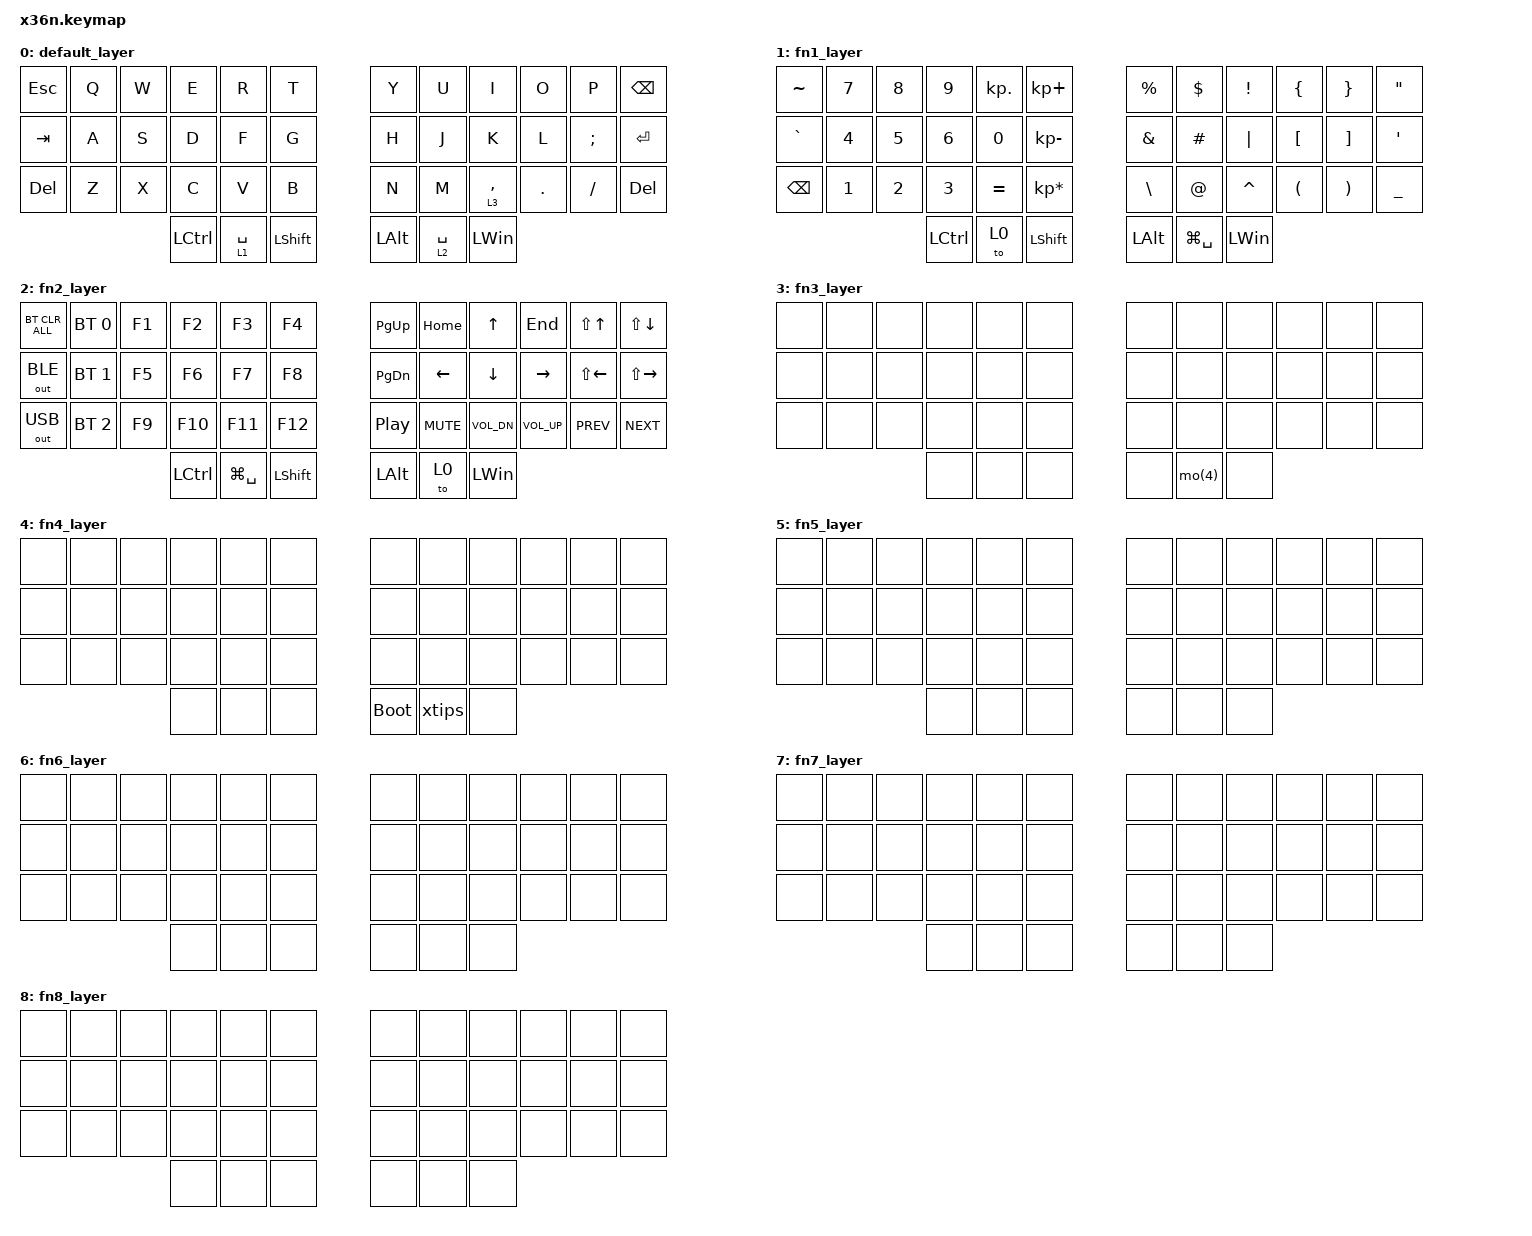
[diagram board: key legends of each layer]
/*
 * Copyright (c) 2020 The ZMK Contributors
 *
 * SPDX-License-Identifier: MIT
 */

#include <behaviors.dtsi>
#include <dt-bindings/zmk/keys.h>
#include <dt-bindings/zmk/rgb.h>
#include <dt-bindings/zmk/bt.h>
#include <dt-bindings/zmk/outputs.h>
#include <dt-bindings/zmk/ext_power.h>
#include <dt-bindings/zmk/mouse.h>

/ {
      macros {
        xtips: xtips {
            compatible = "zmk,behavior-macro";
            label = "XTIPS";
            #binding-cells = <0>;
            bindings = <&kp LS(X) &kp KP_DOT &kp LS(T) &kp I &kp P &kp S>;
            wait-ms = <1>;
            tap-ms = <1>;
        };
      };

    keymap0: keymap {
        compatible = "zmk,keymap";

        default_layer {
            bindings = <
            &kp ESC          &kp Q            &kp W            &kp E            &kp R            &kp T               &kp Y            &kp U            &kp I            &kp O            &kp P            &kp BSPC
            &kp TAB          &kp A            &kp S            &kp D            &kp F            &kp G               &kp H            &kp J            &kp K            &kp L            &kp SEMI         &kp ENTER
            &kp DEL          &kp Z            &kp X            &kp C            &kp V            &kp B               &kp N            &kp M            &lt 3 COMMA      &kp DOT          &kp SLASH        &kp DEL
                                                               &kp LCTRL        &lt 1 SPACE      &kp LSHFT           &kp LALT         &lt 2 SPACE      &kp LWIN
            >;
        };

        fn1_layer {
            bindings = <
            &kp TILDE        &kp N7           &kp N8           &kp N9           &kp KP_DOT       &kp KP_PLUS         &kp PRCNT        &kp DLLR         &kp EXCL         &kp LBRC         &kp RBRC         &kp DQT
            &kp GRAVE        &kp N4           &kp N5           &kp N6           &kp N0           &kp KP_MINUS        &kp AMPS         &kp HASH         &kp PIPE         &kp LBKT         &kp RBKT         &kp SQT
            &kp BSPC         &kp N1           &kp N2           &kp N3           &kp EQUAL        &kp KP_MULTIPLY     &kp BSLH         &kp AT           &kp CARET        &kp LPAR         &kp RPAR         &kp UNDER
                                                               &kp LCTRL        &to 0            &kp LSHFT           &kp LALT         &kp LG(SPACE)    &kp LWIN
            >;
        };

        fn2_layer {
            bindings = <
            &bt BT_CLR_ALL   &bt BT_SEL 0     &kp F1           &kp F2           &kp F3           &kp F4              &kp PG_UP        &kp HOME         &kp UP           &kp END          &kp LS(UP)       &kp LS(DOWN)
            &out OUT_BLE     &bt BT_SEL 1     &kp F5           &kp F6           &kp F7           &kp F8              &kp PG_DN        &kp LEFT         &kp DOWN         &kp RIGHT        &kp LS(LEFT)     &kp LS(RIGHT)
            &out OUT_USB     &bt BT_SEL 2     &kp F9           &kp F10          &kp F11          &kp F12             &kp C_PP         &kp C_MUTE       &kp C_VOL_DN     &kp C_VOL_UP     &kp C_PREV       &kp C_NEXT
                                                               &kp LCTRL        &kp LG(SPACE)    &kp LSHFT           &kp LALT         &to 0            &kp LWIN
            >;
        };

        fn3_layer {
            bindings = <
            &none            &none            &none            &none            &none            &none               &none            &none            &none            &none            &none            &none
            &none            &none            &none            &none            &none            &none               &none            &none            &none            &none            &none            &none
            &none            &none            &none            &none            &none            &none               &none            &none            &none            &none            &none            &none
                                                               &none            &none            &none               &none            &mo(4)           &none
            >;
        };

        fn4_layer {
            bindings = <
            &none            &none            &none            &none            &none            &none               &none            &none            &none            &none            &none            &none
            &none            &none            &none            &none            &none            &none               &none            &none            &none            &none            &none            &none
            &none            &none            &none            &none            &none            &none               &none            &none            &none            &none            &none            &none
                                                               &none            &none            &none               &bootloader      &xtips           &none
            >;
        };

        fn5_layer {
            bindings = <
            &none            &none            &none            &none            &none            &none               &none            &none            &none            &none            &none            &none
            &none            &none            &none            &none            &none            &none               &none            &none            &none            &none            &none            &none
            &none            &none            &none            &none            &none            &none               &none            &none            &none            &none            &none            &none
                                                               &none            &none            &none               &none            &none            &none
            >;
        };

        fn6_layer {
            bindings = <
            &none            &none            &none            &none            &none            &none               &none            &none            &none            &none            &none            &none
            &none            &none            &none            &none            &none            &none               &none            &none            &none            &none            &none            &none
            &none            &none            &none            &none            &none            &none               &none            &none            &none            &none            &none            &none
                                                               &none            &none            &none               &none            &none            &none
            >;
        };

        fn7_layer {
            bindings = <
            &none            &none            &none            &none            &none            &none               &none            &none            &none            &none            &none            &none
            &none            &none            &none            &none            &none            &none               &none            &none            &none            &none            &none            &none
            &none            &none            &none            &none            &none            &none               &none            &none            &none            &none            &none            &none
                                                               &none            &none            &none               &none            &none            &none
            >;
        };

        fn8_layer {
            bindings = <
            &none            &none            &none            &none            &none            &none               &none            &none            &none            &none            &none            &none
            &none            &none            &none            &none            &none            &none               &none            &none            &none            &none            &none            &none
            &none            &none            &none            &none            &none            &none               &none            &none            &none            &none            &none            &none
                                                               &none            &none            &none               &none            &none            &none
            >;
        };
    };
};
